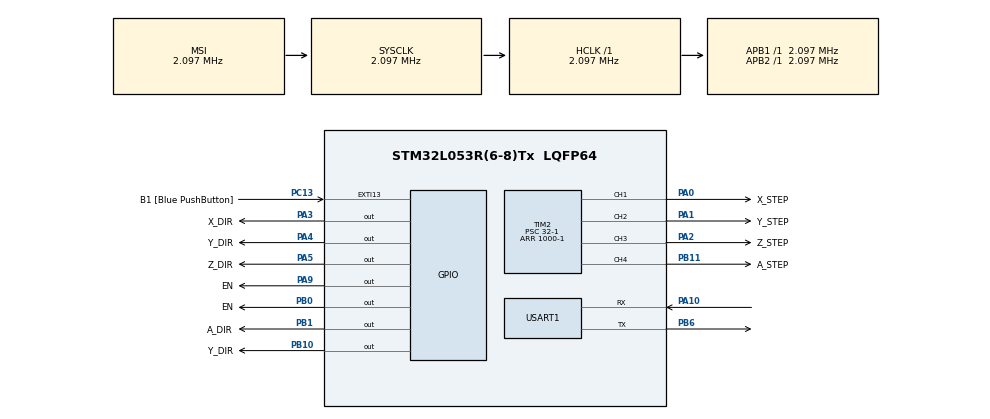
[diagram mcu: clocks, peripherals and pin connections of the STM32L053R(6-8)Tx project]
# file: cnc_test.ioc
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Mcu.Family=STM32L0
Mcu.Name=STM32L053R(6-8)Tx
Mcu.Package=LQFP64
NVIC.TIM2_IRQn=true\:0\:0\:false\:false\:true\:true\:true\:true
NVIC.TIM6_DAC_IRQn=true\:3\:0\:false\:false\:true\:false\:true\:true
NVIC.TimeBase=TIM6_DAC_IRQn
NVIC.TimeBaseIP=TIM6
PA0.GPIO_Label=X_STEP
PA0.Signal=S_TIM2_CH1
PA1.GPIO_Label=Y_STEP
PA1.Signal=S_TIM2_CH2
PA10.Mode=Asynchronous
PA10.Signal=USART1_RX
PA13.GPIO_Label=TMS
PA13.Mode=Serial_Wire
PA13.Signal=SYS_SWDIO
PA14.GPIO_Label=TCK
PA14.Mode=Serial_Wire
PA14.Signal=SYS_SWCLK
PA2.GPIO_Label=Z_STEP
PA2.Signal=S_TIM2_CH3
PA3.GPIO_Label=X_DIR
PA3.GPIO_PuPd=GPIO_PULLUP
PA3.Signal=GPIO_Output
PA4.GPIO_Label=Y_DIR
PA4.GPIO_PuPd=GPIO_PULLUP
PA4.Signal=GPIO_Output
PA5.GPIO_Label=Z_DIR
PA5.GPIO_PuPd=GPIO_PULLUP
PA5.Signal=GPIO_Output
PA9.GPIO_Label=EN
PA9.Signal=GPIO_Output
PB0.GPIO_Label=EN
PB0.Signal=GPIO_Output
PB1.GPIO_Label=A_DIR
PB1.GPIO_PuPd=GPIO_PULLUP
PB1.Signal=GPIO_Output
PB10.GPIO_Label=Y_DIR
PB10.Signal=GPIO_Output
PB11.GPIO_Label=A_STEP
PB11.Signal=S_TIM2_CH4
PB6.Mode=Asynchronous
PB6.Signal=USART1_TX
PC13.GPIO_Label=B1 [Blue PushButton]
PC13.GPIO_ModeDefaultEXTI=GPIO_MODE_IT_FALLING
PC13.Signal=GPXTI13
PC14-OSC32_IN.Mode=LSE-External-Oscillator
PC14-OSC32_IN.Signal=RCC_OSC32_IN
PC15-OSC32_OUT.Mode=LSE-External-Oscillator
PC15-OSC32_OUT.Signal=RCC_OSC32_OUT
PH0-OSC_IN.Mode=HSE-External-Oscillator
PH0-OSC_IN.Signal=RCC_OSC_IN
PH1-OSC_OUT.Mode=HSE-External-Oscillator
PH1-OSC_OUT.Signal=RCC_OSC_OUT
ProjectManager.HeapSize=0x200
ProjectManager.StackSize=0x400
ProjectManager.TargetToolchain=STM32CubeIDE
RCC.AHBFreq_Value=2097000
RCC.APB1Freq_Value=2097000
RCC.APB1TimFreq_Value=2097000
RCC.APB2Freq_Value=2097000
RCC.APB2TimFreq_Value=2097000
RCC.HSE_VALUE=8000000
RCC.HSI16_VALUE=16000000
RCC.HSI48_VALUE=48000000
RCC.HSI_VALUE=16000000
RCC.MSI_VALUE=2097000
RCC.SYSCLKFreq_VALUE=2097000
RCC.VCOOutputFreq_Value=48000000
SH.S_TIM2_CH1.0=TIM2_CH1,PWM Generation1 CH1
SH.S_TIM2_CH2.0=TIM2_CH2,PWM Generation2 CH2
SH.S_TIM2_CH3.0=TIM2_CH3,PWM Generation3 CH3
SH.S_TIM2_CH4.0=TIM2_CH4,PWM Generation4 CH4
TIM2.Channel-PWM\ Generation1\ CH1=TIM_CHANNEL_1
TIM2.Channel-PWM\ Generation2\ CH2=TIM_CHANNEL_2
TIM2.Channel-PWM\ Generation3\ CH3=TIM_CHANNEL_3
TIM2.Channel-PWM\ Generation4\ CH4=TIM_CHANNEL_4
TIM2.Period=1000-1
TIM2.Prescaler=32-1
USART1.VirtualMode-Asynchronous=VM_ASYNC
VP_SYS_VS_tim6.Mode=TIM6
VP_TIM2_VS_ClockSourceINT.Mode=Internal
board=NUCLEO-L053R8

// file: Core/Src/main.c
/* USER CODE BEGIN Header */
/**
  ******************************************************************************
  * @file           : main.c
  * @brief          : Main program body
  ******************************************************************************
  * @attention
  *
  * Copyright (c) 2025 STMicroelectronics.
  * All rights reserved.
  *
  * This software is licensed under terms that can be found in the LICENSE file
  * in the root directory of this software component.
  * If no LICENSE file comes with this software, it is provided AS-IS.
  *
  ******************************************************************************
  */
/* USER CODE END Header */
#include "main.h"

TIM_HandleTypeDef htim2;

UART_HandleTypeDef huart1;

/* USER CODE BEGIN PV */
#define X (0)
#define Y (1)
#define Z (2)
#define A (3)

volatile uint32_t x_step_count = 0;
volatile uint32_t y_step_count = 0;
volatile uint32_t z_step_count = 0;
volatile uint32_t a_step_count = 0;

/* ISR: Count every pulse on TIM2 Channel 1 */
void HAL_TIM_PWM_PulseFinishedCallback(TIM_HandleTypeDef *htim)
{
    if(htim->Instance == TIM2 && htim->Channel == HAL_TIM_ACTIVE_CHANNEL_1)
    {
        x_step_count++;
    }

    if(htim->Instance == TIM2 && htim->Channel == HAL_TIM_ACTIVE_CHANNEL_2)
    {
        y_step_count++;
    }

    if(htim->Instance == TIM2 && htim->Channel == HAL_TIM_ACTIVE_CHANNEL_3)
    {
        z_step_count++;
    }

    if(htim->Instance == TIM2 && htim->Channel == HAL_TIM_ACTIVE_CHANNEL_4)
    {
       a_step_count++;
    }
}

/* Generate N pulses at given frequency */
void move_axis(uint8_t axis, uint32_t steps, uint32_t freq_hz, uint8_t dir)
{

    // Configure timer frequency
//    uint32_t timer_clk = HAL_RCC_GetPCLK1Freq();
    uint32_t prescaler = 31; // 1 MHz tick
    uint32_t arr = (1000000 / freq_hz) - 1;

    htim2.Instance->PSC = prescaler;
    htim2.Instance->ARR = arr;
    htim2.Instance->CCR1 = arr / 2;
    htim2.Instance->CCR2 = arr / 2;
    htim2.Instance->CCR3 = arr / 2;
    htim2.Instance->CCR4 = arr / 2;

	switch (axis)
	{
		case X:
			// Set direction
			HAL_GPIO_WritePin(X_DIR_Port, X_DIR_Pin, dir ? GPIO_PIN_SET : GPIO_PIN_RESET);
		    x_step_count = 0;
		    // Enable driver
//		    HAL_GPIO_WritePin(EN_Port, EN_Pin, GPIO_PIN_RESET);

		    // Start PWM
		    HAL_TIM_PWM_Start_IT(&htim2, TIM_CHANNEL_1);

		    // Wait until we reach target steps
		    while(x_step_count < steps);

		    // Stop PWM
		    HAL_TIM_PWM_Stop_IT(&htim2, TIM_CHANNEL_1);
//		    HAL_GPIO_WritePin(EN_Port, EN_Pin, GPIO_PIN_SET);

		    break;

		case Y:
			// Set direction
			HAL_GPIO_WritePin(Y_DIR_Port, Y_DIR_Pin, dir ? GPIO_PIN_SET : GPIO_PIN_RESET);
		    y_step_count = 0;
		    // Enable driver
		    HAL_GPIO_WritePin(EN_Port, EN_Pin, GPIO_PIN_RESET);

		    // Start PWM
		    HAL_TIM_PWM_Start_IT(&htim2, TIM_CHANNEL_2);

		    // Wait until we reach target steps
		    while(y_step_count < steps);

		    // Stop PWM
		    HAL_TIM_PWM_Stop_IT(&htim2, TIM_CHANNEL_2);
		    HAL_GPIO_WritePin(EN_Port, EN_Pin, GPIO_PIN_SET);

		    break;

		case Z:
			// Set direction
			HAL_GPIO_WritePin(Z_DIR_Port, Z_DIR_Pin, dir ? GPIO_PIN_SET : GPIO_PIN_RESET);
		    z_step_count = 0;
		    // Enable driver
		    HAL_GPIO_WritePin(EN_Port, EN_Pin, GPIO_PIN_RESET);

		    // Start PWM
		    HAL_TIM_PWM_Start_IT(&htim2, TIM_CHANNEL_3);

		    // Wait until we reach target steps
		    while(z_step_count < steps);

		    // Stop PWM
		    HAL_TIM_PWM_Stop_IT(&htim2, TIM_CHANNEL_3);
		    HAL_GPIO_WritePin(EN_Port, EN_Pin, GPIO_PIN_SET);

		    break;

		case A:
			// Set direction
			HAL_GPIO_WritePin(A_DIR_Port, A_DIR_Pin, dir ? GPIO_PIN_SET : GPIO_PIN_RESET);
		    a_step_count = 0;
		    // Enable driver
		    HAL_GPIO_WritePin(EN_Port, EN_Pin, GPIO_PIN_RESET);

		    // Start PWM
		    HAL_TIM_PWM_Start_IT(&htim2, TIM_CHANNEL_4);

		    // Wait until we reach target steps
		    while(a_step_count < steps);

		    // Stop PWM
		    HAL_TIM_PWM_Stop_IT(&htim2, TIM_CHANNEL_4);
		    HAL_GPIO_WritePin(EN_Port, EN_Pin, GPIO_PIN_SET);

		    break;
	}
    // Enable driver
    HAL_GPIO_WritePin(EN_Port, EN_Pin, GPIO_PIN_RESET);

    // Start PWM
    HAL_TIM_PWM_Start_IT(&htim2, TIM_CHANNEL_1);

    // Wait until we reach target steps
    while(x_step_count < steps);

    // Stop PWM
    HAL_TIM_PWM_Stop_IT(&htim2, TIM_CHANNEL_1);
    HAL_GPIO_WritePin(EN_Port, EN_Pin, GPIO_PIN_SET);
}
/* USER CODE END PV */

void SystemClock_Config(void);
static void MX_GPIO_Init(void);
static void MX_TIM2_Init(void);
static void MX_USART1_UART_Init(void);

int main(void)
{

  /* MCU Configuration--------------------------------------------------------*/

  /* Reset of all peripherals, Initializes the Flash interface and the Systick. */
  HAL_Init();

  /* Configure the system clock */
  SystemClock_Config();

  /* Initialize all configured peripherals */
  MX_GPIO_Init();
  MX_TIM2_Init();
  MX_USART1_UART_Init();

  /* Infinite loop */
  /* USER CODE BEGIN WHILE */
  // Debug vars
  char buf[20];
  uint8_t bufLen = 0;

  while (1)
  {
    /* USER CODE END WHILE */

    /* USER CODE BEGIN 3 */
	  // Example: Move X axis forward at 1 kHz for ~2s
      // Move 1600 steps forward (half revolution at 1/16 microstep)
//      move_axis(X, 1600, 1000, 1);
//      HAL_Delay(1000);
//
//      // Move back 1600 steps
//      move_axis(X, 1600, 1000, 0);
//      HAL_Delay(1000);

	  // Example: Move Y axis forward at 1 kHz for ~2s
      // Move 1600 steps forward (half revolution at 1/16 microstep)
      move_axis(Y, 254, 1000, 1);
      HAL_Delay(1000);

      // Move back 1600 steps
      move_axis(Y, 100, 1000, 0);
      HAL_Delay(1000);

	  // Example: Move Z axis forward at 1 kHz for ~2s
      // Move 1600 steps forward (half revolution at 1/16 microstep)
//      move_axis(Z, 1600, 1000, 1);
//      HAL_Delay(1000);
//
//      // Move back 1600 steps
//      move_axis(Z, 1600, 1000, 0);
//      HAL_Delay(1000);

	  // Example: Move A axis forward at 1 kHz for ~2s
      // Move 1600 steps forward (half revolution at 1/16 microstep)
      move_axis(A, 150, 1000, 1);
      HAL_Delay(1000);

      // Move back 1600 steps
      move_axis(A, 35, 1000, 0);
      HAL_Delay(1000);
  }
  /* USER CODE END 3 */
}

void SystemClock_Config(void)
{
  RCC_OscInitTypeDef RCC_OscInitStruct = {0};
  RCC_ClkInitTypeDef RCC_ClkInitStruct = {0};
  RCC_PeriphCLKInitTypeDef PeriphClkInit = {0};

  /** Configure the main internal regulator output voltage
  */
  __HAL_PWR_VOLTAGESCALING_CONFIG(PWR_REGULATOR_VOLTAGE_SCALE1);

  /** Initializes the RCC Oscillators according to the specified parameters
  * in the RCC_OscInitTypeDef structure.
  */
  RCC_OscInitStruct.OscillatorType = RCC_OSCILLATORTYPE_MSI;
  RCC_OscInitStruct.MSIState = RCC_MSI_ON;
  RCC_OscInitStruct.MSICalibrationValue = 0;
  RCC_OscInitStruct.MSIClockRange = RCC_MSIRANGE_5;
  RCC_OscInitStruct.PLL.PLLState = RCC_PLL_NONE;
  if (HAL_RCC_OscConfig(&RCC_OscInitStruct) != HAL_OK)
  {
    Error_Handler();
  }

  /** Initializes the CPU, AHB and APB buses clocks
  */
  RCC_ClkInitStruct.ClockType = RCC_CLOCKTYPE_HCLK|RCC_CLOCKTYPE_SYSCLK
                              |RCC_CLOCKTYPE_PCLK1|RCC_CLOCKTYPE_PCLK2;
  RCC_ClkInitStruct.SYSCLKSource = RCC_SYSCLKSOURCE_MSI;
  RCC_ClkInitStruct.AHBCLKDivider = RCC_SYSCLK_DIV1;
  RCC_ClkInitStruct.APB1CLKDivider = RCC_HCLK_DIV1;
  RCC_ClkInitStruct.APB2CLKDivider = RCC_HCLK_DIV1;

  if (HAL_RCC_ClockConfig(&RCC_ClkInitStruct, FLASH_LATENCY_0) != HAL_OK)
  {
    Error_Handler();
  }
  PeriphClkInit.PeriphClockSelection = RCC_PERIPHCLK_USART1;
  PeriphClkInit.Usart1ClockSelection = RCC_USART1CLKSOURCE_PCLK2;
  if (HAL_RCCEx_PeriphCLKConfig(&PeriphClkInit) != HAL_OK)
  {
    Error_Handler();
  }
}

static void MX_TIM2_Init(void)
{

  TIM_ClockConfigTypeDef sClockSourceConfig = {0};
  TIM_MasterConfigTypeDef sMasterConfig = {0};
  TIM_OC_InitTypeDef sConfigOC = {0};

  htim2.Instance = TIM2;
  htim2.Init.Prescaler = 32-1;
  htim2.Init.CounterMode = TIM_COUNTERMODE_UP;
  htim2.Init.Period = 1000-1;
  htim2.Init.ClockDivision = TIM_CLOCKDIVISION_DIV1;
  htim2.Init.AutoReloadPreload = TIM_AUTORELOAD_PRELOAD_DISABLE;
  if (HAL_TIM_Base_Init(&htim2) != HAL_OK)
  {
    Error_Handler();
  }
  sClockSourceConfig.ClockSource = TIM_CLOCKSOURCE_INTERNAL;
  if (HAL_TIM_ConfigClockSource(&htim2, &sClockSourceConfig) != HAL_OK)
  {
    Error_Handler();
  }
  if (HAL_TIM_PWM_Init(&htim2) != HAL_OK)
  {
    Error_Handler();
  }
  sMasterConfig.MasterOutputTrigger = TIM_TRGO_RESET;
  sMasterConfig.MasterSlaveMode = TIM_MASTERSLAVEMODE_DISABLE;
  if (HAL_TIMEx_MasterConfigSynchronization(&htim2, &sMasterConfig) != HAL_OK)
  {
    Error_Handler();
  }
  sConfigOC.OCMode = TIM_OCMODE_PWM1;
  sConfigOC.Pulse = 0;
  sConfigOC.OCPolarity = TIM_OCPOLARITY_HIGH;
  sConfigOC.OCFastMode = TIM_OCFAST_DISABLE;
  if (HAL_TIM_PWM_ConfigChannel(&htim2, &sConfigOC, TIM_CHANNEL_1) != HAL_OK)
  {
    Error_Handler();
  }
  if (HAL_TIM_PWM_ConfigChannel(&htim2, &sConfigOC, TIM_CHANNEL_2) != HAL_OK)
  {
    Error_Handler();
  }
  if (HAL_TIM_PWM_ConfigChannel(&htim2, &sConfigOC, TIM_CHANNEL_3) != HAL_OK)
  {
    Error_Handler();
  }
  if (HAL_TIM_PWM_ConfigChannel(&htim2, &sConfigOC, TIM_CHANNEL_4) != HAL_OK)
  {
    Error_Handler();
  }
  HAL_TIM_MspPostInit(&htim2);

}

static void MX_USART1_UART_Init(void)
{

  huart1.Instance = USART1;
  huart1.Init.BaudRate = 115200;
  huart1.Init.WordLength = UART_WORDLENGTH_8B;
  huart1.Init.StopBits = UART_STOPBITS_1;
  huart1.Init.Parity = UART_PARITY_NONE;
  huart1.Init.Mode = UART_MODE_TX_RX;
  huart1.Init.HwFlowCtl = UART_HWCONTROL_NONE;
  huart1.Init.OverSampling = UART_OVERSAMPLING_16;
  huart1.Init.OneBitSampling = UART_ONE_BIT_SAMPLE_DISABLE;
  huart1.AdvancedInit.AdvFeatureInit = UART_ADVFEATURE_NO_INIT;
  if (HAL_UART_Init(&huart1) != HAL_OK)
  {
    Error_Handler();
  }

}

static void MX_GPIO_Init(void)
{
  GPIO_InitTypeDef GPIO_InitStruct = {0};

  /* GPIO Ports Clock Enable */
  __HAL_RCC_GPIOC_CLK_ENABLE();
  __HAL_RCC_GPIOH_CLK_ENABLE();
  __HAL_RCC_GPIOA_CLK_ENABLE();
  __HAL_RCC_GPIOB_CLK_ENABLE();

  /*Configure GPIO pin Output Level */
  HAL_GPIO_WritePin(GPIOA, X_DIR_Pin|Y_DIR_Pin|Z_DIR_Pin|ENA9_Pin, GPIO_PIN_RESET);

  /*Configure GPIO pin Output Level */
  HAL_GPIO_WritePin(GPIOB, EN_Pin|A_DIR_Pin|Y_DIRB10_Pin, GPIO_PIN_RESET);

  /*Configure GPIO pin : B1_Pin */
  GPIO_InitStruct.Pin = B1_Pin;
  GPIO_InitStruct.Mode = GPIO_MODE_IT_FALLING;
  GPIO_InitStruct.Pull = GPIO_NOPULL;
  HAL_GPIO_Init(B1_GPIO_Port, &GPIO_InitStruct);

  /*Configure GPIO pins : X_DIR_Pin Y_DIR_Pin Z_DIR_Pin */
  GPIO_InitStruct.Pin = X_DIR_Pin|Y_DIR_Pin|Z_DIR_Pin;
  GPIO_InitStruct.Mode = GPIO_MODE_OUTPUT_PP;
  GPIO_InitStruct.Pull = GPIO_PULLUP;
  GPIO_InitStruct.Speed = GPIO_SPEED_FREQ_LOW;
  HAL_GPIO_Init(GPIOA, &GPIO_InitStruct);

  /*Configure GPIO pins : EN_Pin Y_DIRB10_Pin */
  GPIO_InitStruct.Pin = EN_Pin|Y_DIRB10_Pin;
  GPIO_InitStruct.Mode = GPIO_MODE_OUTPUT_PP;
  GPIO_InitStruct.Pull = GPIO_NOPULL;
  GPIO_InitStruct.Speed = GPIO_SPEED_FREQ_LOW;
  HAL_GPIO_Init(GPIOB, &GPIO_InitStruct);

  /*Configure GPIO pin : A_DIR_Pin */
  GPIO_InitStruct.Pin = A_DIR_Pin;
  GPIO_InitStruct.Mode = GPIO_MODE_OUTPUT_PP;
  GPIO_InitStruct.Pull = GPIO_PULLUP;
  GPIO_InitStruct.Speed = GPIO_SPEED_FREQ_LOW;
  HAL_GPIO_Init(A_DIR_GPIO_Port, &GPIO_InitStruct);

  /*Configure GPIO pin : ENA9_Pin */
  GPIO_InitStruct.Pin = ENA9_Pin;
  GPIO_InitStruct.Mode = GPIO_MODE_OUTPUT_PP;
  GPIO_InitStruct.Pull = GPIO_NOPULL;
  GPIO_InitStruct.Speed = GPIO_SPEED_FREQ_LOW;
  HAL_GPIO_Init(ENA9_GPIO_Port, &GPIO_InitStruct);

  /* USER CODE BEGIN MX_GPIO_Init_2 */
  	/*Configure GPIO pins : X_DIR_Pin Y_DIR_Pin Z_DIR_Pin */
	GPIO_InitStruct.Pin = X_DIR_Pin;
	GPIO_InitStruct.Mode = GPIO_MODE_OUTPUT_PP;
	GPIO_InitStruct.Pull = GPIO_PULLUP;
	GPIO_InitStruct.Speed = GPIO_SPEED_FREQ_LOW;
	HAL_GPIO_Init(GPIOA, &GPIO_InitStruct);

  	/*Configure GPIO pins : X_DIR_Pin Y_DIR_Pin Z_DIR_Pin */
	GPIO_InitStruct.Pin = Y_DIR_Pin;
	GPIO_InitStruct.Mode = GPIO_MODE_OUTPUT_PP;
	GPIO_InitStruct.Pull = GPIO_PULLUP;
	GPIO_InitStruct.Speed = GPIO_SPEED_FREQ_LOW;
	HAL_GPIO_Init(GPIOA, &GPIO_InitStruct);

  	/*Configure GPIO pins : X_DIR_Pin Y_DIR_Pin Z_DIR_Pin */
	GPIO_InitStruct.Pin = Z_DIR_Pin;
	GPIO_InitStruct.Mode = GPIO_MODE_OUTPUT_PP;
	GPIO_InitStruct.Pull = GPIO_PULLUP;
	GPIO_InitStruct.Speed = GPIO_SPEED_FREQ_LOW;
	HAL_GPIO_Init(GPIOA, &GPIO_InitStruct);

	/*Configure GPIO pin : A_DIR_Pin */
	GPIO_InitStruct.Pin = A_DIR_Pin;
	GPIO_InitStruct.Mode = GPIO_MODE_OUTPUT_PP;
	GPIO_InitStruct.Pull = GPIO_PULLUP;
	GPIO_InitStruct.Speed = GPIO_SPEED_FREQ_LOW;
	HAL_GPIO_Init(A_DIR_Port, &GPIO_InitStruct);

	/*Configure GPIO pin : ENA9_Pin */
	GPIO_InitStruct.Pin = EN_Pin;
	GPIO_InitStruct.Mode = GPIO_MODE_OUTPUT_PP;
	GPIO_InitStruct.Pull = GPIO_NOPULL;
	GPIO_InitStruct.Speed = GPIO_SPEED_FREQ_LOW;
	HAL_GPIO_Init(EN_Port, &GPIO_InitStruct);

  /* USER CODE END MX_GPIO_Init_2 */
}

void HAL_TIM_PeriodElapsedCallback(TIM_HandleTypeDef *htim)
{
  if (htim->Instance == TIM6)
  {
    HAL_IncTick();
  }
}

void Error_Handler(void)
{
  __disable_irq();
  while (1)
  {
  }
}
